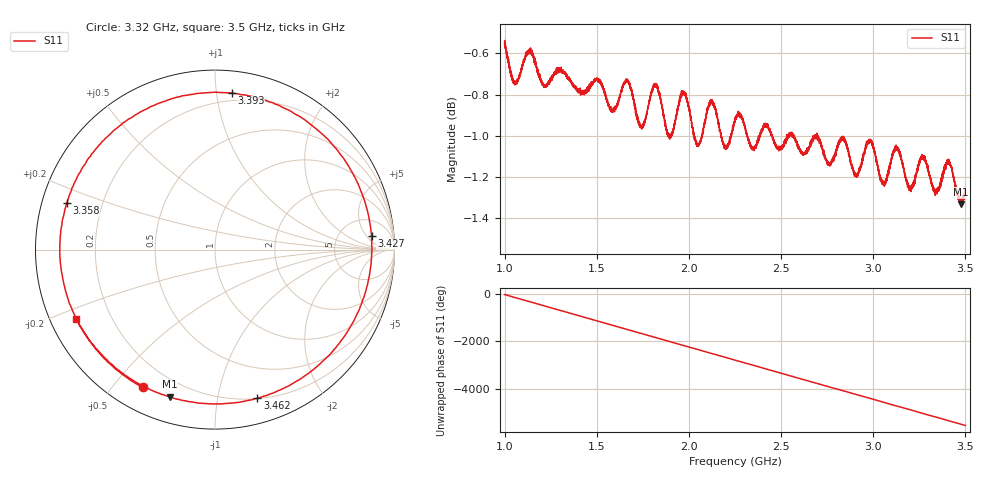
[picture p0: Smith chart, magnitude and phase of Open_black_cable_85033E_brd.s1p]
!Keysight Technologies,E5080A,MY55200716,A.11.70.00
!Date: Wednesday, December 21, 2022 15:36:06
!Correction: S11(Off)
!S1P File: Measurement: S11:
# Hz S  RI  R 50
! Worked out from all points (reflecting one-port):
!   6401 points, 1 GHz to 3.5 GHz, reference 50 ohm
!   lowest |S11| = -1.3 dB at 3.477 GHz (marker M1), VSWR 13.06, Z = 5.91 - j36.7 ohm
!   phase of S11 starts at -42 deg and turns -5511 deg over the sweep
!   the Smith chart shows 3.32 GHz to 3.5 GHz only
!   S11 on the Smith chart (normalised r, x): 3.32 GHz: 0.10, -0.60; 3.358 GHz: 0.07, +0.15; 3.393 GHz: 0.15, +1.10; 3.427 GHz: 11, +7; 3.462 GHz: 0.20, -1.30; 3.5 GHz: 0.08, -0.24
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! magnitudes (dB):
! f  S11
! 1 GHz  -0.6
! 1.055 GHz  -0.7
! 1.133 GHz  -0.6
! 1.312 GHz  -0.7
! 1.625 GHz  -0.8
! 1.745 GHz  -1.0
! 1.821 GHz  -0.8
! 1.895 GHz  -1.0
! 1.938 GHz  -0.9
! 1.978 GHz  -0.8
! 2.048 GHz  -1.1
! 2.118 GHz  -0.8
! 2.196 GHz  -1.1
! 2.25 GHz  -0.9
! 2.562 GHz  -1.0
! 2.875 GHz  -1.1
! 2.986 GHz  -1.0
! 3.058 GHz  -1.2
! 3.129 GHz  -1.1
! 3.188 GHz  -1.2
! 3.268 GHz  -1.1
! 3.32 GHz  -1.2
! 3.358 GHz  -1.3
! 3.393 GHz  -1.1
! 3.427 GHz  -1.2
! 3.462 GHz  -1.3
! 3.477 GHz  -1.3
! 3.5 GHz  -1.3
